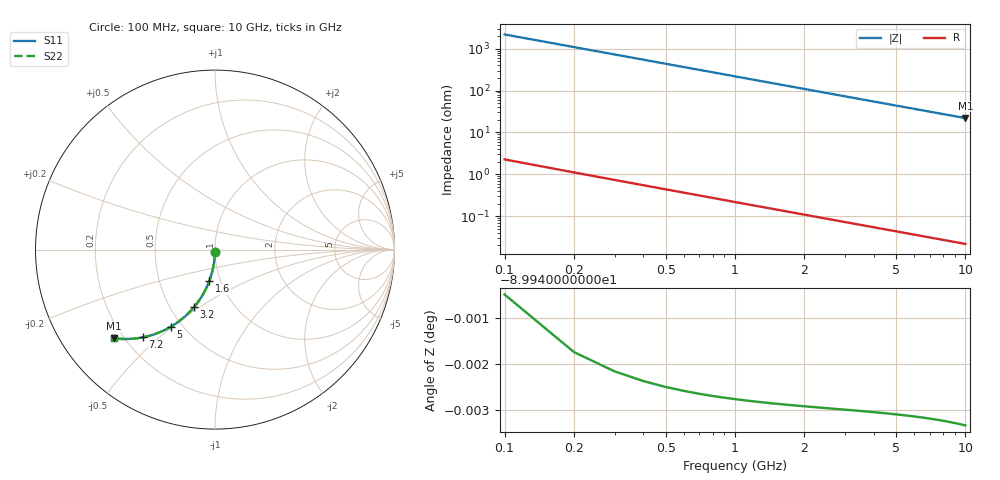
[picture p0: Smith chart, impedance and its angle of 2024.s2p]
# Hz S RI R 50.00
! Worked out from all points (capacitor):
!   100 points, 100 MHz to 10 GHz, reference 50 ohm
!   read as one part in shunt: C = 728 fF near 100 MHz
!   lowest |Z| = 22 ohm at 10 GHz (marker M1)
!   S11 on the Smith chart (normalised r, x): 100 MHz: 1.00, -0.02; 1.6 GHz: 0.88, -0.32; 3.2 GHz: 0.65, -0.48; 5 GHz: 0.44, -0.49; 7.2 GHz: 0.27, -0.44; 10 GHz: 0.16, -0.37
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1e8  -0.000135 -0.0114  0.9998 -0.0115  0.9998 -0.0115  -0.000135 -0.0114
2e8  -0.000539 -0.0228  0.9994 -0.0229  0.9994 -0.0229  -0.000539 -0.0228
3e8  -0.0012 -0.0342  0.9988 -0.0343  0.9988 -0.0343  -0.0012 -0.0342
4e8  -0.00213 -0.0456  0.9979 -0.0457  0.9979 -0.0457  -0.00213 -0.0456
5e8  -0.00331 -0.0569  0.9967 -0.0571  0.9967 -0.0571  -0.00331 -0.0569
6e8  -0.00475 -0.0682  0.9952 -0.0684  0.9952 -0.0684  -0.00475 -0.0682
7e8  -0.00644 -0.0795  0.9935 -0.0797  0.9935 -0.0797  -0.00644 -0.0795
9e8  -0.0106 -0.1017  0.9894 -0.102  0.9894 -0.102  -0.0106 -0.1017
1.2e9  -0.0186 -0.1345  0.9814 -0.1349  0.9814 -0.1349  -0.0186 -0.1345
1.6e9  -0.0325 -0.1767  0.9674 -0.1772  0.9674 -0.1772  -0.0325 -0.1767
1.8e9  -0.0408 -0.1971  0.9592 -0.1976  0.9592 -0.1976  -0.0408 -0.1971
2.4e9  -0.0702 -0.2546  0.9298 -0.2553  0.9298 -0.2553  -0.0702 -0.2546
2.8e9  -0.0931 -0.2896  0.9069 -0.2905  0.9069 -0.2905  -0.0931 -0.2896
3.2e9  -0.1181 -0.3218  0.8819 -0.3227  0.8819 -0.3227  -0.1181 -0.3218
3.4e9  -0.1313 -0.3367  0.8687 -0.3377  0.8687 -0.3377  -0.1313 -0.3367
4.2e9  -0.1871 -0.3889  0.8129 -0.3902  0.8129 -0.3902  -0.1871 -0.3889
5e9  -0.2457 -0.4292  0.7543 -0.4308  0.7543 -0.4308  -0.2457 -0.4292
5.1e9  -0.2531 -0.4335  0.7469 -0.435  0.7469 -0.435  -0.2531 -0.4335
6.7e9  -0.3683 -0.4808  0.6317 -0.4829  0.6317 -0.4829  -0.3683 -0.4808
7.2e9  -0.4021 -0.4887  0.5979 -0.4909  0.5979 -0.4909  -0.4021 -0.4887
8.4e9  -0.4774 -0.4977  0.5226 -0.5003  0.5226 -0.5003  -0.4774 -0.4977
1e10  -0.5636 -0.4939  0.4364 -0.497  0.4364 -0.497  -0.5636 -0.4939
